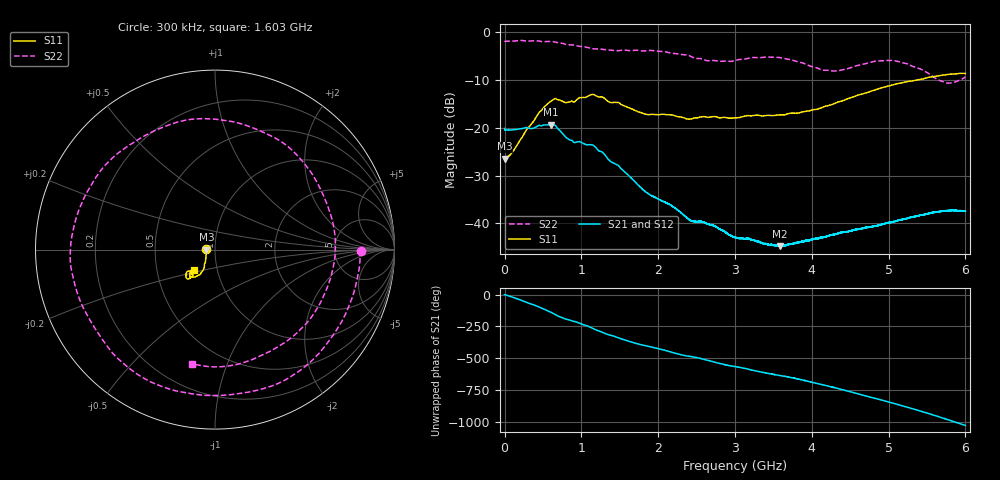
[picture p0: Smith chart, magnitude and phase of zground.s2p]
!  8/6/2020  02:08:35
! Ref Plane: 0.000 mm
# MHZ S MA R  50
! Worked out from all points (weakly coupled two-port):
!   10001 points, 300 kHz to 6 GHz, reference 50 ohm
!   highest |S21| = -19.32 dB at 606.3 MHz (marker M1); lowest = -44.8 dB at 3.584 GHz (marker M2)
!   lowest |S11| = -26.4 dB at 2.1 MHz (marker M3), VSWR 1.10, Z = 45.4 + j0.0456 ohm
!   |S11| at or under -10 dB: start of sweep to 5.353 GHz
!   |S22| runs from -10.6 to -1.7 dB; largest |S21 - S12| = 0.0024
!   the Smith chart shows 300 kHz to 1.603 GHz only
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0.3  0.04785 178.7  0.09886 -1.1  0.09644 -1.0  0.8151 -0.5
2.0999  0.04776 179.4  0.09517 -0.5  0.09531 -0.5  0.8093 -0.9
305.0848  0.09985 -126.2  0.1002 -66.2  0.1004 -66.3  0.8131 -90.3
606.2697  0.1918 -126.9  0.1081 -140.2  0.1082 -140.3  0.8078 -177.0
813.8593  0.185 -135.1  0.07815 165.2  0.07832 165.2  0.7462 123.0
1000.45  0.208 -131.4  0.07049 129.3  0.07055 129.2  0.7094 71.2
1255.437  0.2131 -138.8  0.05688 68.5  0.05694 68.5  0.6696 -2.7
1539.223  0.1728 -137.6  0.036 8.7  0.03598 8.6  0.6526 -84.2
1789.41  0.143 -127.7  0.0231 -35.0  0.02316 -35.2  0.6414 -152.1
2000.6  0.1378 -116.3  0.01801 -64.3  0.01806 -64.2  0.6365 153.0
2259.187  0.1313 -107.4  0.01371 -105.8  0.01373 -105.8  0.5972 85.8
2541.173  0.1298 -89.8  0.01044 -139.0  0.01051 -139.1  0.5339 6.3
2781.761  0.1285 -80.5  0.008919 -177.4  0.008932 -177.4  0.5006 -67.2
3000.15  0.1278 -68.6  0.007087 154.9  0.007182 155.4  0.5076 -133.8
3246.138  0.1353 -57.9  0.006703 124.5  0.006717 124.8  0.5467 160.2
3583.921  0.1375 -41.0  0.005785 85.5  0.005894 85.4  0.5456 77.8
4000.3  0.1538 -18.6  0.00681 33.1  0.006857 33.1  0.4394 -31.6
4222.289  0.1721 -6.6  0.007444 1.7  0.007456 1.5  0.4014 -101.8
4485.676  0.2049 3.0  0.008302 -39.1  0.008315 -39.2  0.422 175.0
5000.45  0.2752 12.3  0.01022 -122.0  0.01021 -122.2  0.5088 46.7
5505.025  0.3363 15.8  0.01262 150.5  0.01262 150.3  0.379 -74.8
6000  0.3722 13.4  0.0134 54.2  0.01343 54.3  0.3423 115.6
